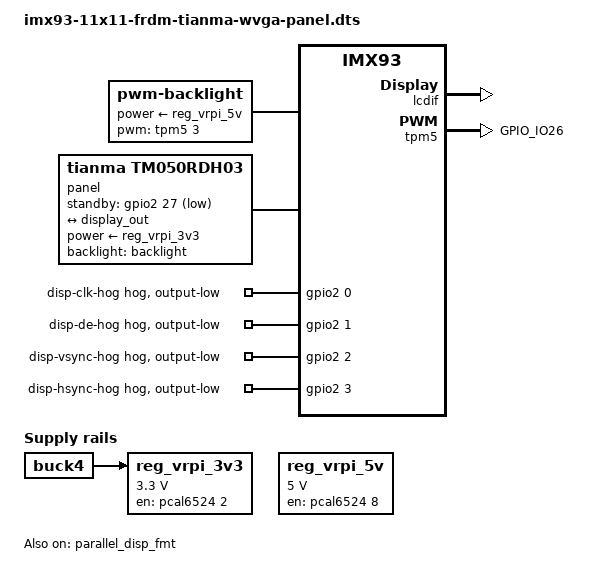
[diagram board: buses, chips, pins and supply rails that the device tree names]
// SPDX-License-Identifier: (GPL-2.0+ OR MIT)
/*
 * Copyright 2024 NXP
 */
#include <dt-bindings/gpio/gpio.h>
#include <dt-bindings/pwm/pwm.h>
#include "imx93-11x11-frdm.dts"

&lvds_bridge {
	status = "disabled";
};

&ldb {
	status = "disabled";
};

&ldb_phy {
	status = "disabled";
};

&tpm3 {
	status = "disabled";
};

&tpm4 {
	status = "disabled";
};

/ {
	backlight: backlight {
		compatible = "pwm-backlight";
		pwms = <&tpm5 3 40000 PWM_POLARITY_INVERTED>;	/* 25KHz PWM */
		brightness-levels = <0 100>;
		num-interpolated-steps = <100>;
		default-brightness-level = <80>;
		power-supply = <&reg_vrpi_5v>;
	};

	panel {
		compatible = "tianma,tm050rdh03";
		standby-gpios = <&gpio2 27 GPIO_ACTIVE_LOW>;	/* STBYB */
		backlight = <&backlight>;
		power-supply = <&reg_vrpi_3v3>;

		port {
			panel_in: endpoint {
				remote-endpoint = <&display_out>;
			};
		};
	};
	reg_vrpi_3v3: regulator-vrpi-3v3 {
		compatible = "regulator-fixed";
		regulator-name = "VRPI_3V3";
		gpio = <&pcal6524 2 GPIO_ACTIVE_HIGH>;
		regulator-min-microvolt = <3300000>;
		regulator-max-microvolt = <3300000>;
		enable-active-high;
		vin-supply = <&buck4>;
	};

	reg_vrpi_5v: regulator-vrpi-5v {
		compatible = "regulator-fixed";
		regulator-name = "VRPI_5V";
		gpio = <&pcal6524 8 GPIO_ACTIVE_HIGH>;
		regulator-min-microvolt = <5000000>;
		regulator-max-microvolt = <5000000>;
		enable-active-high;
	};
};

&gpio2 {
	/* avoid power leakage */
	disp-clk-hog {
		gpio-hog;
		gpios = <0 GPIO_ACTIVE_HIGH>;
		output-low;
	};

	disp-de-hog {
		gpio-hog;
		gpios = <1 GPIO_ACTIVE_HIGH>;
		output-low;
	};

	disp-vsync-hog {
		gpio-hog;
		gpios = <2 GPIO_ACTIVE_HIGH>;
		output-low;
	};

	disp-hsync-hog {
		gpio-hog;
		gpios = <3 GPIO_ACTIVE_HIGH>;
		output-low;
	};
};

&iomuxc {
	pinctrl_tpm5_ch3: tpm5ch3grp {
		fsl,pins = <
			MX93_PAD_GPIO_IO26__TPM5_CH3	0x31e
		>;
	};
	pinctrl_lcdif: lcdifgrp {
		fsl,pins = <
			MX93_PAD_GPIO_IO00__MEDIAMIX_DISP_CLK		0x31e
			MX93_PAD_GPIO_IO01__MEDIAMIX_DISP_DE		0x31e
			MX93_PAD_GPIO_IO02__MEDIAMIX_DISP_VSYNC		0x31e
			MX93_PAD_GPIO_IO03__MEDIAMIX_DISP_HSYNC		0x31e
			MX93_PAD_GPIO_IO04__MEDIAMIX_DISP_DATA00		0x31e
			MX93_PAD_GPIO_IO05__MEDIAMIX_DISP_DATA01		0x31e
			MX93_PAD_GPIO_IO06__MEDIAMIX_DISP_DATA02		0x31e
			MX93_PAD_GPIO_IO07__MEDIAMIX_DISP_DATA03		0x31e
			MX93_PAD_GPIO_IO08__MEDIAMIX_DISP_DATA04		0x31e
			MX93_PAD_GPIO_IO09__MEDIAMIX_DISP_DATA05		0x31e
			MX93_PAD_GPIO_IO10__MEDIAMIX_DISP_DATA06		0x31e
			MX93_PAD_GPIO_IO11__MEDIAMIX_DISP_DATA07		0x31e
			MX93_PAD_GPIO_IO12__MEDIAMIX_DISP_DATA08		0x31e
			MX93_PAD_GPIO_IO13__MEDIAMIX_DISP_DATA09		0x31e
			MX93_PAD_GPIO_IO14__MEDIAMIX_DISP_DATA10	0x31e
			MX93_PAD_GPIO_IO15__MEDIAMIX_DISP_DATA11	0x31e
			MX93_PAD_GPIO_IO16__MEDIAMIX_DISP_DATA12	0x31e
			MX93_PAD_GPIO_IO17__MEDIAMIX_DISP_DATA13	0x31e
			MX93_PAD_GPIO_IO18__MEDIAMIX_DISP_DATA14	0x31e
			MX93_PAD_GPIO_IO19__MEDIAMIX_DISP_DATA15	0x31e
			MX93_PAD_GPIO_IO20__MEDIAMIX_DISP_DATA16	0x31e
			MX93_PAD_GPIO_IO21__MEDIAMIX_DISP_DATA17	0x31e
			MX93_PAD_GPIO_IO27__GPIO2_IO27			0x31e
		>;
	};
	pinctrl_lcdif_gpio: lcdifgpiogrp {
		fsl,pins = <
			MX93_PAD_GPIO_IO00__GPIO2_IO00			0x51e
			MX93_PAD_GPIO_IO01__GPIO2_IO01			0x51e
			MX93_PAD_GPIO_IO02__GPIO2_IO02			0x51e
			MX93_PAD_GPIO_IO03__GPIO2_IO03			0x51e
		>;
	};
};

&lcdif {
	assigned-clock-rates = <300000000>, <30000000>, <400000000>, <133333333>;
	status = "okay";
};

&parallel_disp_fmt {
	pinctrl-names = "default", "gpio";
	pinctrl-0 = <&pinctrl_lcdif>;
	pinctrl-1 = <&pinctrl_lcdif_gpio>;
	fsl,interface-pix-fmt = "rgb666";
	status = "okay";

	ports {
		port@1 {
			reg = <1>;

			display_out: endpoint {
				remote-endpoint = <&panel_in>;
			};
		};
	};
};

/* pin conflicts */
&lpspi3 {
	status = "disabled";
};

&adp5585_isp {
	status = "disabled";
};

&ap1302 {
	status = "disabled";
};

&sai3 {
	status = "disabled";
};

&flexcan2 {
	status = "disabled";
};

&tpm5 {
	pinctrl-names = "default";
	pinctrl-0 = <&pinctrl_tpm5_ch3>;
	status = "okay";
};
